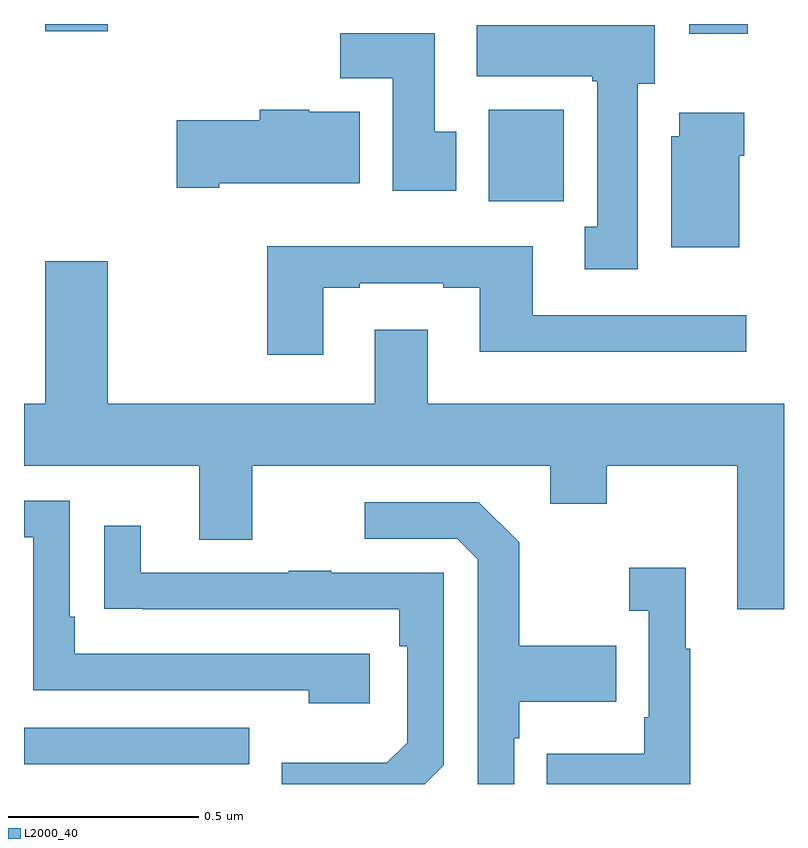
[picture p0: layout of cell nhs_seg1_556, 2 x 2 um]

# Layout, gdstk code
import gdstk
lib = gdstk.Library(unit=1e-6, precision=1e-09)
def R(c, l, rs):  # rectangles x0, y0, x1, y1
    for r in rs: c.add(gdstk.rectangle(r[:2], r[2:], *l))
def P(c, l, *ps):  # polygons
    for p in ps: c.add(gdstk.Polygon(p, *l))
L2000_40 = (2000, 40)

nhs_seg1_556 = lib.new_cell('nhs_seg1_556')
R(nhs_seg1_556, L2000_40, [(117,580.251,117.593,580.347), (118.223,581.732,118.42,581.974), (118.751,582.174,118.904,582.199), (117.056,582.18,117.22,582.199)])
P(nhs_seg1_556, L2000_40, [(118.615,582.042),(118.66,582.042),(118.66,582.196),(118.191,582.196),(118.191,582.062),(118.495,582.062),(118.495,582.049),(118.508,582.049),(118.508,581.666),(118.475,581.666),(118.475,581.553),(118.615,581.553)],
  [(118.138,581.916),(118.081,581.916),(118.081,582.175),(117.832,582.175),(117.832,582.056),(117.971,582.056),(117.971,581.76),(118.138,581.76)],
  [(117.514,581.78),(117.883,581.78),(117.883,581.968),(117.75,581.968),(117.75,581.974),(117.62,581.974),(117.62,581.946),(117.402,581.946),(117.402,581.768),(117.514,581.768)],
  [(118.882,581.852),(118.895,581.852),(118.895,581.965),(118.724,581.965),(118.724,581.904),(118.703,581.904),(118.703,581.612),(118.882,581.612)],
  [(117.787,581.505),(117.883,581.505),(117.883,581.517),(118.103,581.517),(118.103,581.505),(118.199,581.505),(118.199,581.336),(118.9,581.336),(118.9,581.433),(118.339,581.433),(118.339,581.614),(117.64,581.614),(117.64,581.328),(117.787,581.328)],
  [(119,581.2),(118.063,581.2),(118.063,581.395),(117.923,581.395),(117.923,581.2),(117.22,581.2),(117.22,581.575),(117.056,581.575),(117.056,581.2),(117,581.2),(117,581.036),(117.461,581.036),(117.461,580.842),(117.601,580.842),(117.601,581.036),(118.385,581.036),(118.385,580.937),(118.533,580.937),(118.533,581.036),(118.877,581.036),(118.877,580.659),(119,580.659)],
  [(117.91,580.542),(117.133,580.542),(117.133,580.639),(117.12,580.639),(117.12,580.944),(117,580.944),(117,580.848),(117.024,580.848),(117.024,580.446),(117.749,580.446),(117.749,580.412),(117.91,580.412)],
  [(118.29,580.319),(118.303,580.319),(118.303,580.415),(118.559,580.415),(118.559,580.563),(118.303,580.563),(118.303,580.835),(118.197,580.941),(117.897,580.941),(117.897,580.845),(118.14,580.845),(118.194,580.791),(118.194,580.199),(118.29,580.199)],
  [(118.104,580.248),(118.104,580.755),(117.809,580.755),(117.809,580.76),(117.697,580.76),(117.697,580.755),(117.307,580.755),(117.307,580.879),(117.211,580.879),(117.211,580.66),(117.313,580.66),(117.313,580.659),(117.988,580.659),(117.988,580.562),(118.008,580.562),(118.008,580.308),(117.955,580.255),(117.678,580.255),(117.678,580.199),(118.055,580.199)],
  [(118.753,580.555),(118.741,580.555),(118.741,580.768),(118.593,580.768),(118.593,580.655),(118.644,580.655),(118.644,580.375),(118.632,580.375),(118.632,580.279),(118.375,580.279),(118.375,580.199),(118.753,580.199)])

lib.write_gds('nhs_seg1_556.gds')
